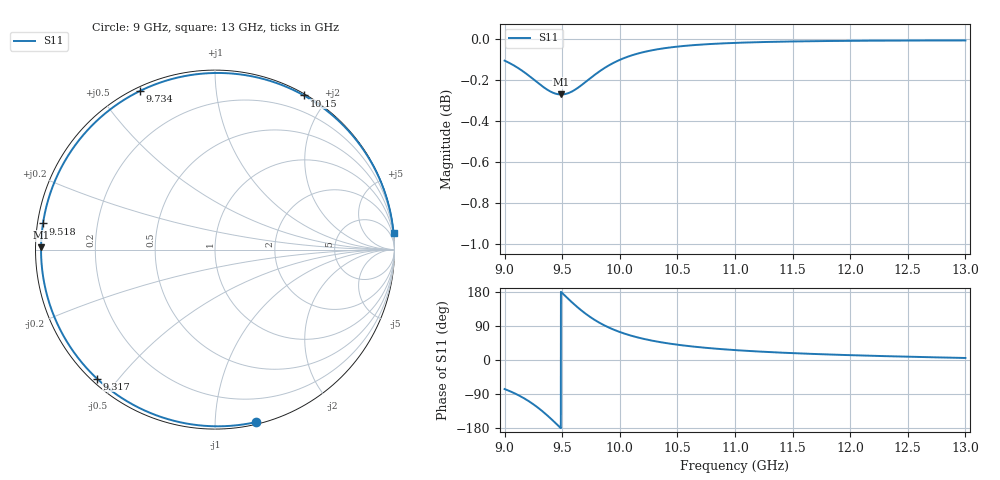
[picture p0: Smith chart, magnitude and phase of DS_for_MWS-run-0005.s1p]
! TOUCHSTONE file generated by CST DESIGN STUDIO
! Date and time: Tue Feb  4 12:23:00 2025
! Project name: C:\Work\MatlabApps\UnitCellOptimizationMatlab\CST\unitcell.cst
! Tree item: Tasks\Sweep1\SPara1\S-Parameters
! Header version: 2024
! Port assignment regex: !\s*Touchstone port\s*([0-9]+)\s*=\s*(CST MWS port|CST DES external port|CST DES block port)\s*(.+)\s* \(\"(.*)\"\)(\s*mode\s*([0-9]+))?.*
! Touchstone port assignment:
! Touchstone port 1 = CST DES external port 1 ("")
# GHz S MA R 50
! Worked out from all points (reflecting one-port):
!   4001 points, 9 GHz to 13 GHz, reference 50 ohm
!   lowest |S11| = -0.3 dB at 9.491 GHz (marker M1), VSWR 64.09, Z = 0.78 + j0.31 ohm
!   phase of S11 starts at -77 deg and turns -278 deg over the sweep
!   S11 on the Smith chart (normalised r, x): 9 GHz: 0.02, -1.26; 9.317 GHz: 0.02, -0.44; 9.518 GHz: 0.02, +0.08; 9.734 GHz: 0.02, +0.63; 10.15 GHz: 0.02, +1.73; 13 GHz: 0, +22
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9  0.9878 -76.7
9.082  0.9851 -87.2
9.182  0.9809 -103.4
9.252  0.9775 -117.4
9.317  0.9742 -132.4
9.363  0.9722 -144.2
9.412  0.9704 -157.7
9.452  0.9696 -169.3
9.491  0.9693 179.3
9.5  0.9693 176.6
9.518  0.9694 171.4
9.571  0.9705 156.1
9.63  0.9726 140.0
9.681  0.975 127.3
9.734  0.9776 115.4
9.788  0.9803 104.6
9.848  0.983 94.2
9.923  0.9858 83.2
10  0.9882 73.9
10.149  0.9916 60.0
10.308  0.9939 49.5
10.5  0.9956 40.4
10.722  0.9968 32.8
11  0.9977 26.1
11.5  0.9985 18.1
12  0.9988 12.8
12.5  0.999 8.7
13  0.999 5.3
